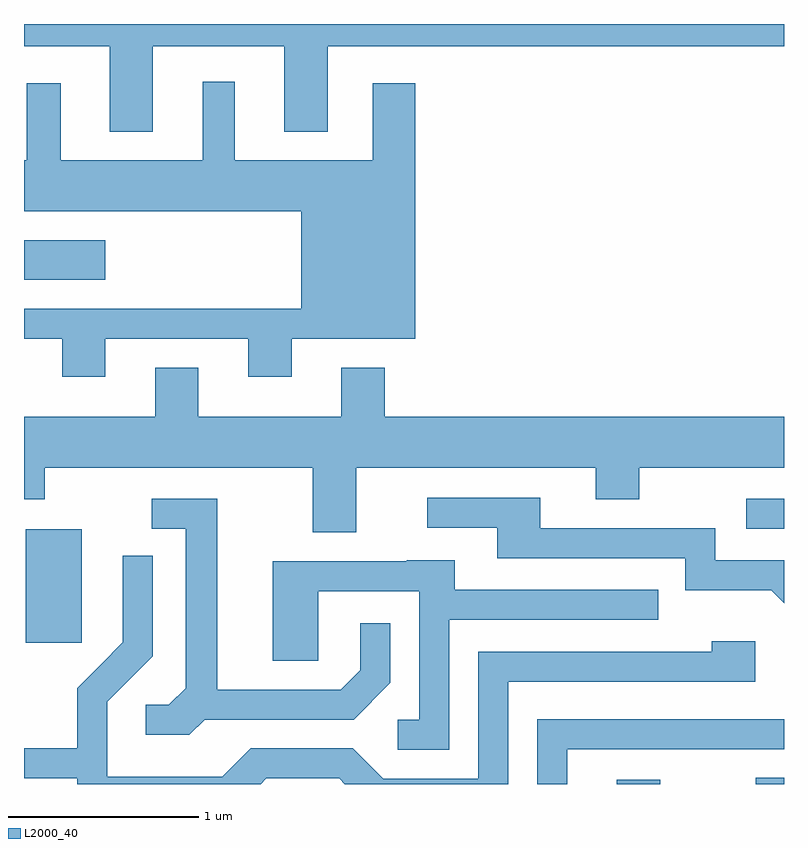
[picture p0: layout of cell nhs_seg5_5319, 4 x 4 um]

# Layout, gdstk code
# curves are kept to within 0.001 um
import gdstk
lib = gdstk.Library(unit=1e-6, precision=1e-09)
def R(c, l, rs):  # rectangles x0, y0, x1, y1
    for r in rs: c.add(gdstk.rectangle(r[:2], r[2:], *l))
def P(c, l, *ps):  # polygons
    for p in ps: c.add(gdstk.Polygon(p, *l))
L2000_40 = (2000, 40)

nhs_seg5_5319 = lib.new_cell('nhs_seg5_5319')
R(nhs_seg5_5319, L2000_40, [(346.731,1404.072,346.959,1404.094), (347.463,1404.072,347.611,1404.104), (343.621,1404.816,343.914,1405.414), (347.413,1405.416,347.611,1405.574), (343.611,1406.726,344.039,1406.934)])
P(nhs_seg5_5319, L2000_40, [(343.611,1407.956),(344.061,1407.956),(344.061,1407.506),(344.289,1407.506),(344.289,1407.956),(344.981,1407.956),(344.981,1407.506),(345.209,1407.506),(345.209,1407.956),(347.611,1407.956),(347.611,1408.072),(343.611,1408.072)],
  [(344.039,1406.416),(344.791,1406.416),(344.791,1406.216),(345.019,1406.216),(345.019,1406.416),(345.669,1406.416),(345.669,1407.759),(345.446,1407.759),(345.446,1407.354),(344.719,1407.354),(344.719,1407.768),(344.551,1407.768),(344.551,1407.354),(343.804,1407.354),(343.804,1407.759),(343.626,1407.759),(343.626,1407.354),(343.611,1407.354),(343.611,1407.086),(345.071,1407.086),(345.071,1406.574),(343.611,1406.574),(343.611,1406.416),(343.811,1406.416),(343.811,1406.216),(344.039,1406.216)],
  [(345.359,1405.736),(346.621,1405.736),(346.621,1405.571),(346.849,1405.571),(346.849,1405.736),(347.611,1405.736),(347.611,1406.004),(345.509,1406.004),(345.509,1406.264),(345.281,1406.264),(345.281,1406.004),(344.529,1406.004),(344.529,1406.264),(344.301,1406.264),(344.301,1406.004),(343.611,1406.004),(343.611,1405.571),(343.719,1405.571),(343.719,1405.736),(345.131,1405.736),(345.131,1405.396),(345.359,1405.396)],
  [(347.611,1405.249),(347.249,1405.249),(347.249,1405.419),(346.329,1405.419),(346.329,1405.579),(345.733,1405.579),(345.733,1405.421),(346.101,1405.421),(346.101,1405.261),(347.091,1405.261),(347.091,1405.091),(347.544,1405.091),(347.611,1405.024)],
  [(344.562,1404.411),(345.347,1404.411),(345.539,1404.604),(345.539,1404.918),(345.381,1404.918),(345.381,1404.672),(345.279,1404.569),(344.629,1404.569),(344.629,1405.574),(344.283,1405.574),(344.283,1405.416),(344.461,1405.416),(344.461,1404.577),(344.374,1404.489),(344.253,1404.489),(344.253,1404.331),(344.482,1404.331)],
  [(344.887,1404.101),(345.269,1404.101),(345.298,1404.072),(346.159,1404.072),(346.159,1404.611),(347.459,1404.611),(347.459,1404.824),(347.231,1404.824),(347.231,1404.769),(346.001,1404.769),(346.001,1404.099),(345.502,1404.099),(345.342,1404.259),(344.804,1404.259),(344.654,1404.109),(344.049,1404.109),(344.049,1404.504),(344.289,1404.744),(344.289,1405.273),(344.131,1405.273),(344.131,1404.817),(343.891,1404.577),(343.891,1404.259),(343.611,1404.259),(343.611,1404.101),(343.891,1404.101),(343.891,1404.072),(344.858,1404.072)],
  [(345.849,1404.936),(346.948,1404.936),(346.948,1405.094),(345.879,1405.094),(345.879,1405.249),(345.625,1405.249),(345.625,1405.244),(344.921,1405.244),(344.921,1404.721),(345.159,1404.721),(345.159,1405.086),(345.691,1405.086),(345.691,1404.409),(345.578,1404.409),(345.578,1404.251),(345.849,1404.251)],
  [(346.469,1404.256),(347.611,1404.256),(347.611,1404.414),(346.311,1404.414),(346.311,1404.072),(346.469,1404.072)])

lib.write_gds('nhs_seg5_5319.gds')
